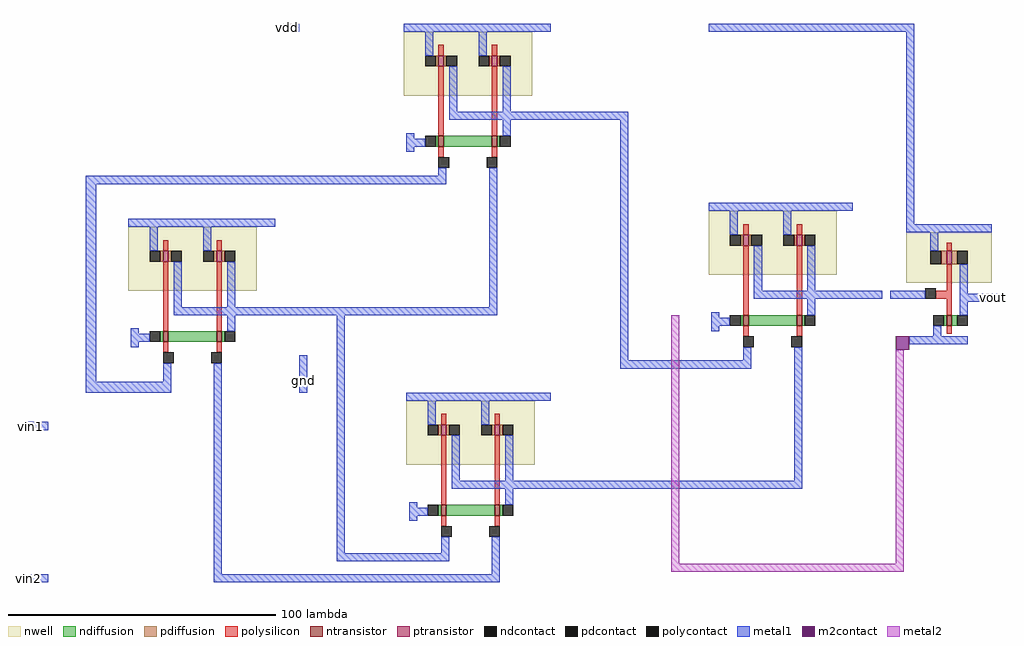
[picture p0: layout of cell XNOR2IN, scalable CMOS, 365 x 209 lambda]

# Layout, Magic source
magic
tech scmos
<< metal1 >>
rect 74 206 80 209
rect 233 206 310 209
rect 307 131 310 206
rect 301 106 312 109
rect 331 105 342 108
rect 308 89 317 92
rect 80 71 83 85
rect -23 57 -14 60
rect -23 0 -14 3
<< m2contact >>
rect 303 87 308 92
<< metal2 >>
rect 219 7 222 100
rect 303 7 306 87
rect 219 4 306 7
use NOT  NOT_0
transform 1 0 314 0 1 115
box -7 -26 25 19
use XOR2IN  XOR2IN_0
transform 1 0 91 0 1 108
box -106 -118 213 101
<< labels >>
rlabel metal1 75 207 76 208 5 vdd
rlabel metal1 81 75 82 76 1 gnd
rlabel metal1 -21 58 -20 59 3 vin1
rlabel metal1 -22 1 -21 2 3 vin2
rlabel metal1 339 106 340 107 7 vout
<< end >>

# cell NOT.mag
magic
tech scmos
<< nwell >>
rect -7 -3 25 16
<< ntransistor >>
rect 8 -19 10 -15
<< ptransistor >>
rect 8 4 10 9
<< ndiffusion >>
rect 7 -19 8 -15
rect 10 -19 12 -15
<< pdiffusion >>
rect 6 4 8 9
rect 10 4 12 9
<< ndcontact >>
rect 3 -19 7 -15
rect 12 -19 16 -15
<< pdcontact >>
rect 2 4 6 9
rect 12 4 16 9
<< polysilicon >>
rect 8 9 10 12
rect 8 -6 10 4
rect 4 -9 10 -6
rect 8 -15 10 -9
rect 8 -22 10 -19
<< polycontact >>
rect 0 -9 4 -5
<< metal1 >>
rect -7 16 25 19
rect 2 9 5 16
rect -3 -9 0 -6
rect 13 -7 16 4
rect 13 -10 20 -7
rect 13 -15 16 -10
rect 3 -23 6 -19
rect 2 -26 16 -23
<< labels >>
rlabel metal1 6 17 9 18 5 vdd
rlabel metal1 -3 -8 -2 -7 3 in
rlabel metal1 18 -9 19 -8 1 out
rlabel metal1 9 -25 10 -24 1 gnd
<< end >>

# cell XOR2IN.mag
magic
tech scmos
<< metal1 >>
rect 61 99 62 100
rect 75 98 83 101
rect 75 65 112 68
rect 29 58 32 60
rect 29 57 33 58
rect 29 53 32 57
rect -91 41 44 44
rect -91 -33 -87 41
rect -38 26 -37 27
rect -28 25 -20 28
rect 60 -5 63 45
rect -29 -8 63 -5
rect -74 -20 -71 -13
rect -62 -33 -59 -30
rect -91 -37 -59 -33
rect -43 -105 -40 -29
rect 3 -97 6 -8
rect 109 -25 112 65
rect 189 31 196 34
rect 189 -2 207 1
rect 143 -14 146 -7
rect 155 -25 158 -23
rect 109 -28 158 -25
rect 76 -40 83 -37
rect 174 -70 177 -22
rect 76 -73 177 -70
rect 30 -85 33 -78
rect 42 -97 45 -94
rect 3 -100 45 -97
rect 61 -105 64 -93
rect -43 -108 64 -105
use NAND2IN  NAND2IN_0
transform 1 0 -59 0 1 5
box -16 -35 32 23
use NAND2IN  NAND2IN_1
transform 1 0 44 0 1 78
box -16 -35 32 23
use NAND2IN  NAND2IN_2
transform 1 0 45 0 1 -60
box -16 -35 32 23
use NAND2IN  NAND2IN_3
transform 1 0 158 0 1 11
box -16 -35 32 23
<< labels >>
rlabel metal1 -62 -36 -61 -35 1 vin1
rlabel metal1 -42 -36 -41 -35 1 vin2
rlabel metal1 -74 -17 -73 -16 1 gnd
rlabel metal1 30 -82 31 -81 1 gnd
rlabel metal1 29 56 30 57 1 gnd
rlabel metal1 143 -11 144 -10 1 gnd
rlabel metal1 194 32 195 33 7 vdd
rlabel metal1 81 99 82 100 5 vdd
rlabel metal1 80 -39 81 -38 1 vdd
rlabel metal1 -23 26 -22 27 1 vdd
rlabel metal1 198 -1 199 0 1 vout
<< end >>

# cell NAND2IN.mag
magic
tech scmos
<< nwell >>
rect -16 -4 32 20
<< ntransistor >>
rect -3 -23 -1 -19
rect 17 -23 19 -19
<< ptransistor >>
rect -3 7 -1 11
rect 17 7 19 11
<< ndiffusion >>
rect -4 -23 -3 -19
rect -1 -23 17 -19
rect 19 -23 20 -19
<< pdiffusion >>
rect -4 7 -3 11
rect -1 7 0 11
rect 16 7 17 11
rect 19 7 20 11
<< ndcontact >>
rect -8 -23 -4 -19
rect 20 -23 24 -19
<< pdcontact >>
rect -8 7 -4 11
rect 0 7 4 11
rect 12 7 16 11
rect 20 7 24 11
<< polysilicon >>
rect -3 11 -1 15
rect 17 11 19 15
rect -3 -19 -1 7
rect 17 -19 19 7
rect -3 -27 -1 -23
rect 17 -27 19 -23
<< polycontact >>
rect -3 -31 1 -27
rect 15 -31 19 -27
<< metal1 >>
rect -16 20 32 23
rect -8 11 -5 20
rect 12 11 15 20
rect 1 -10 4 7
rect 21 -10 24 7
rect 1 -13 32 -10
rect 21 -19 24 -13
rect -13 -23 -8 -20
rect -3 -35 0 -31
rect 16 -35 19 -31
<< labels >>
rlabel metal1 7 21 8 22 5 vdd
rlabel metal1 28 -12 29 -11 7 vout
rlabel metal1 -12 -22 -11 -21 3 gnd
rlabel metal1 -2 -33 -1 -32 1 vin1
rlabel metal1 17 -33 18 -32 1 vin2
<< end >>
